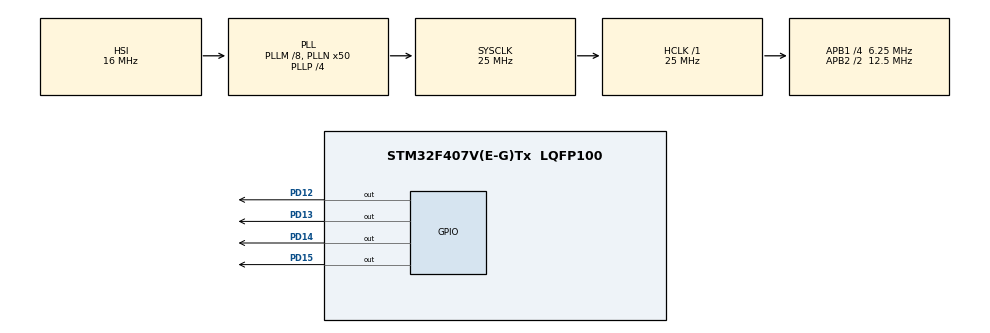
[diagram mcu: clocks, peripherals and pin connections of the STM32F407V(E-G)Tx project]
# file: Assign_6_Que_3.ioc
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Mcu.Family=STM32F4
Mcu.Name=STM32F407V(E-G)Tx
Mcu.Package=LQFP100
NVIC.PriorityGroup=NVIC_PRIORITYGROUP_0
PD12.Signal=GPIO_Output
PD13.Signal=GPIO_Output
PD14.Signal=GPIO_Output
PD15.Signal=GPIO_Output
ProjectManager.HeapSize=0x200
ProjectManager.StackSize=0x400
ProjectManager.TargetToolchain=STM32CubeIDE
RCC.48MHZClocksFreq_Value=14285714.285714285
RCC.AHBFreq_Value=25000000
RCC.APB1CLKDivider=RCC_HCLK_DIV4
RCC.APB1Freq_Value=6250000
RCC.APB1TimFreq_Value=12500000
RCC.APB2CLKDivider=RCC_HCLK_DIV2
RCC.APB2Freq_Value=12500000
RCC.APB2TimFreq_Value=25000000
RCC.CortexFreq_Value=25000000
RCC.HCLKFreq_Value=25000000
RCC.HSE_VALUE=8000000
RCC.HSI_VALUE=16000000
RCC.LSE_VALUE=32768
RCC.PLLM=8
RCC.PLLN=50
RCC.PLLP=RCC_PLLP_DIV4
RCC.PLLQ=7
RCC.SYSCLKFreq_VALUE=25000000
RCC.SYSCLKSource=RCC_SYSCLKSOURCE_PLLCLK
RCC.VCOOutputFreq_Value=100000000
board=STM32F407G-DISC1

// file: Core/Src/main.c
/* USER CODE BEGIN Header */
/**
  ******************************************************************************
  * @file           : main.c
  * @brief          : Main program body
  ******************************************************************************
  * @attention
  *
  * Copyright (c) 2025 STMicroelectronics.
  * All rights reserved.
  *
  * This software is licensed under terms that can be found in the LICENSE file
  * in the root directory of this software component.
  * If no LICENSE file comes with this software, it is provided AS-IS.
  *
  ******************************************************************************
  */
/* USER CODE END Header */
#include "main.h"

void SystemClock_Config(void);
static void MX_GPIO_Init(void);

int main(void)
{

  /* MCU Configuration--------------------------------------------------------*/

  /* Reset of all peripherals, Initializes the Flash interface and the Systick. */
  HAL_Init();

  /* Configure the system clock */
  SystemClock_Config();

  /* Initialize all configured peripherals */
  MX_GPIO_Init();

  /* Infinite loop */
  while (1)
  {

    /* USER CODE BEGIN 3 */
	  HAL_GPIO_WritePin(GPIOD, GPIO_PIN_12, SET);
	  HAL_Delay(500);
	  HAL_GPIO_WritePin(GPIOD, GPIO_PIN_12, RESET);
	  HAL_Delay(500);
	  HAL_GPIO_WritePin(GPIOD, GPIO_PIN_13, SET);
	  HAL_Delay(500);
	  HAL_GPIO_WritePin(GPIOD, GPIO_PIN_13, RESET);
	  HAL_Delay(500);
	  HAL_GPIO_WritePin(GPIOD, GPIO_PIN_14, SET);
	  HAL_Delay(500);
	  HAL_GPIO_WritePin(GPIOD, GPIO_PIN_14, RESET);
	  HAL_Delay(500);
	  HAL_GPIO_WritePin(GPIOD, GPIO_PIN_15, SET);
	  HAL_Delay(500);
	  HAL_GPIO_WritePin(GPIOD, GPIO_PIN_15, RESET);
	  HAL_Delay(500);
  }
  /* USER CODE END 3 */
}

void SystemClock_Config(void)
{
  RCC_OscInitTypeDef RCC_OscInitStruct = {0};
  RCC_ClkInitTypeDef RCC_ClkInitStruct = {0};

  /** Configure the main internal regulator output voltage
  */
  __HAL_RCC_PWR_CLK_ENABLE();
  __HAL_PWR_VOLTAGESCALING_CONFIG(PWR_REGULATOR_VOLTAGE_SCALE1);

  /** Initializes the RCC Oscillators according to the specified parameters
  * in the RCC_OscInitTypeDef structure.
  */
  RCC_OscInitStruct.OscillatorType = RCC_OSCILLATORTYPE_HSI;
  RCC_OscInitStruct.HSIState = RCC_HSI_ON;
  RCC_OscInitStruct.HSICalibrationValue = RCC_HSICALIBRATION_DEFAULT;
  RCC_OscInitStruct.PLL.PLLState = RCC_PLL_ON;
  RCC_OscInitStruct.PLL.PLLSource = RCC_PLLSOURCE_HSI;
  RCC_OscInitStruct.PLL.PLLM = 8;
  RCC_OscInitStruct.PLL.PLLN = 50;
  RCC_OscInitStruct.PLL.PLLP = RCC_PLLP_DIV4;
  RCC_OscInitStruct.PLL.PLLQ = 7;
  if (HAL_RCC_OscConfig(&RCC_OscInitStruct) != HAL_OK)
  {
    Error_Handler();
  }

  /** Initializes the CPU, AHB and APB buses clocks
  */
  RCC_ClkInitStruct.ClockType = RCC_CLOCKTYPE_HCLK|RCC_CLOCKTYPE_SYSCLK
                              |RCC_CLOCKTYPE_PCLK1|RCC_CLOCKTYPE_PCLK2;
  RCC_ClkInitStruct.SYSCLKSource = RCC_SYSCLKSOURCE_PLLCLK;
  RCC_ClkInitStruct.AHBCLKDivider = RCC_SYSCLK_DIV1;
  RCC_ClkInitStruct.APB1CLKDivider = RCC_HCLK_DIV4;
  RCC_ClkInitStruct.APB2CLKDivider = RCC_HCLK_DIV2;

  if (HAL_RCC_ClockConfig(&RCC_ClkInitStruct, FLASH_LATENCY_0) != HAL_OK)
  {
    Error_Handler();
  }
}

static void MX_GPIO_Init(void)
{
  GPIO_InitTypeDef GPIO_InitStruct = {0};

  /* GPIO Ports Clock Enable */
  __HAL_RCC_GPIOD_CLK_ENABLE();

  /*Configure GPIO pin Output Level */
  HAL_GPIO_WritePin(GPIOD, GPIO_PIN_12|GPIO_PIN_13|GPIO_PIN_14|GPIO_PIN_15, GPIO_PIN_RESET);

  /*Configure GPIO pins : PD12 PD13 PD14 PD15 */
  GPIO_InitStruct.Pin = GPIO_PIN_12|GPIO_PIN_13|GPIO_PIN_14|GPIO_PIN_15;
  GPIO_InitStruct.Mode = GPIO_MODE_OUTPUT_PP;
  GPIO_InitStruct.Pull = GPIO_NOPULL;
  GPIO_InitStruct.Speed = GPIO_SPEED_FREQ_LOW;
  HAL_GPIO_Init(GPIOD, &GPIO_InitStruct);

}

void Error_Handler(void)
{
  __disable_irq();
  while (1)
  {
  }
}
